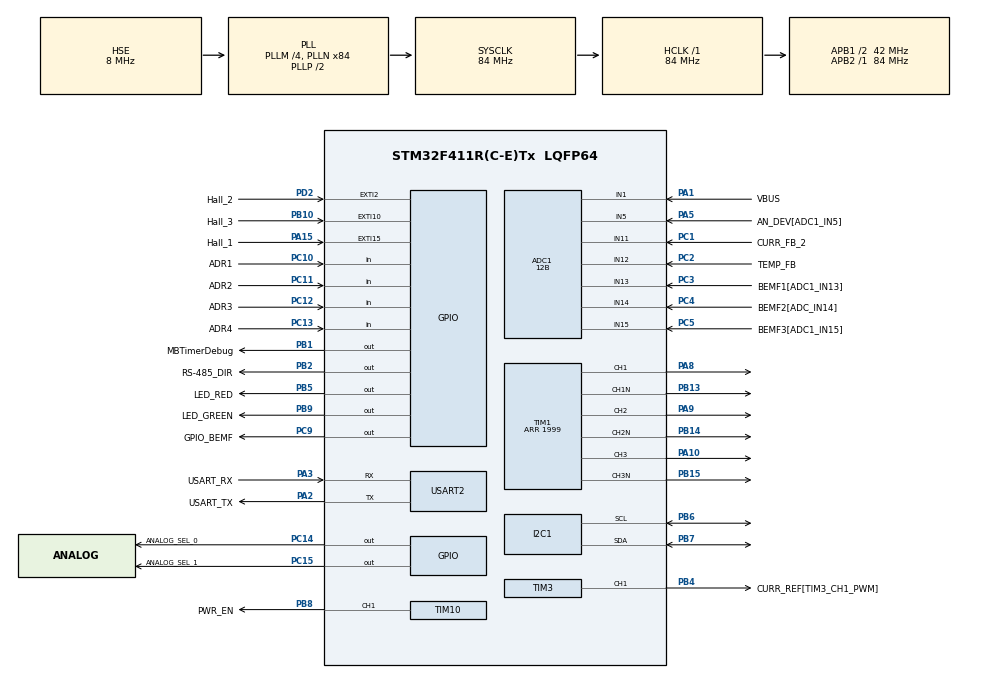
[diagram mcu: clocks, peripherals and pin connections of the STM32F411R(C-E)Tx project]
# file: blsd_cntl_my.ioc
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ADC1.Channel-284\#ChannelRegularConversion=ADC_CHANNEL_5
ADC1.ClockPrescaler=ADC_CLOCK_SYNC_PCLK_DIV4
ADC1.ContinuousConvMode=DISABLE
ADC1.DMAContinuousRequests=DISABLE
ADC1.DataAlign=ADC_DATAALIGN_RIGHT
ADC1.DiscontinuousConvMode=DISABLE
ADC1.EOCSelection=ADC_EOC_SINGLE_CONV
ADC1.EnableAnalogWatchDog=false
ADC1.ExternalTrigConv=ADC_EXTERNALTRIGCONV_T3_TRGO
ADC1.ExternalTrigConvEdge=ADC_EXTERNALTRIGCONVEDGE_RISING
ADC1.InjNumberOfConversion=0
ADC1.NbrOfConversion=1
ADC1.NbrOfConversionFlag=1
ADC1.Rank-284\#ChannelRegularConversion=1
ADC1.Resolution=ADC_RESOLUTION_12B
ADC1.SamplingTime-284\#ChannelRegularConversion=ADC_SAMPLETIME_3CYCLES
ADC1.ScanConvMode=DISABLE
ADC1.master=1
I2C1.I2C_Mode=I2C_Standard
Mcu.Family=STM32F4
Mcu.Name=STM32F411R(C-E)Tx
Mcu.Package=LQFP64
NVIC.ADC_IRQn=true\:3\:0\:true\:false\:true\:true
NVIC.EXTI15_10_IRQn=true\:0\:0\:true\:false\:true\:true
NVIC.EXTI2_IRQn=true\:0\:0\:true\:false\:true\:true
NVIC.I2C1_ER_IRQn=true\:13\:0\:true\:false\:true\:true
NVIC.I2C1_EV_IRQn=true\:12\:0\:true\:false\:true\:true
NVIC.PriorityGroup=NVIC_PRIORITYGROUP_4
NVIC.TIM1_BRK_TIM9_IRQn=true\:2\:0\:true\:false\:true\:true
NVIC.TIM1_TRG_COM_TIM11_IRQn=true\:1\:0\:true\:false\:true\:true
NVIC.TIM4_IRQn=true\:0\:0\:true\:false\:true\:true
NVIC.USART2_IRQn=true\:7\:0\:true\:false\:false\:true
PA1.GPIO_Label=VBUS
PA1.Signal=ADCx_IN1
PA10.GPIO_PuPd=GPIO_PULLDOWN
PA10.GPIO_Speed=GPIO_SPEED_FREQ_HIGH
PA10.Signal=S_TIM1_CH3
PA11.GPIO_Label=SOFT_START_PWM[TIM1_CH4]
PA11.Signal=S_TIM1_CH4
PA12.GPIO_Label=CPOUT[TIM1_ETR]
PA12.Signal=S_TIM1_ETR
PA13.Signal=SYS_JTMS-SWDIO
PA14.GPIO_Label=TCK
PA14.Signal=SYS_JTCK-SWCLK
PA15.GPIO_Label=Hall_1
PA15.GPIO_ModeDefaultEXTI=GPIO_MODE_IT_RISING_FALLING
PA15.GPIO_PuPd=GPIO_PULLUP
PA15.Signal=GPXTI15
PA2.GPIO_Label=USART_TX
PA2.Mode=Asynchronous
PA2.Signal=USART2_TX
PA3.GPIO_Label=USART_RX
PA3.Mode=Asynchronous
PA3.Signal=USART2_RX
PA5.GPIO_Label=AN_DEV[ADC1_IN5]
PA5.Signal=ADCx_IN5
PA8.GPIO_PuPd=GPIO_PULLDOWN
PA8.GPIO_Speed=GPIO_SPEED_FREQ_HIGH
PA8.Signal=S_TIM1_CH1
PA9.GPIO_PuPd=GPIO_PULLDOWN
PA9.GPIO_Speed=GPIO_SPEED_FREQ_HIGH
PA9.Signal=S_TIM1_CH2
PB1.GPIO_Label=MBTimerDebug
PB1.Signal=GPIO_Output
PB10.GPIO_Label=Hall_3
PB10.GPIO_ModeDefaultEXTI=GPIO_MODE_IT_RISING_FALLING
PB10.GPIO_PuPd=GPIO_PULLUP
PB10.Signal=GPXTI10
PB12.Signal=TIM1_BKIN
PB13.GPIO_PuPd=GPIO_PULLDOWN
PB13.GPIO_Speed=GPIO_SPEED_FREQ_HIGH
PB13.Mode=PWM Generation1 CH1 CH1N
PB13.Signal=TIM1_CH1N
PB14.GPIO_PuPd=GPIO_PULLDOWN
PB14.GPIO_Speed=GPIO_SPEED_FREQ_HIGH
PB14.Mode=PWM Generation2 CH2 CH2N
PB14.Signal=TIM1_CH2N
PB15.GPIO_PuPd=GPIO_PULLDOWN
PB15.GPIO_Speed=GPIO_SPEED_FREQ_HIGH
PB15.Mode=PWM Generation3 CH3 CH3N
PB15.Signal=TIM1_CH3N
PB2.GPIO_Label=RS-485_DIR
PB2.Signal=GPIO_Output
PB4.GPIO_Label=CURR_REF[TIM3_CH1_PWM]
PB4.Signal=S_TIM3_CH1
PB5.GPIO_Label=LED_RED
PB5.Signal=GPIO_Output
PB6.Mode=I2C
PB6.Signal=I2C1_SCL
PB7.Mode=I2C
PB7.Signal=I2C1_SDA
PB8.GPIO_Label=PWR_EN
PB8.Signal=S_TIM10_CH1
PB9.GPIO_Label=LED_GREEN
PB9.Signal=GPIO_Output
PC1.GPIO_Label=CURR_FB_2
PC1.Signal=ADCx_IN11
PC10.GPIO_Label=ADR1
PC10.GPIO_PuPd=GPIO_PULLDOWN
PC10.Signal=GPIO_Input
PC11.GPIO_Label=ADR2
PC11.GPIO_PuPd=GPIO_PULLDOWN
PC11.Signal=GPIO_Input
PC12.GPIO_Label=ADR3
PC12.GPIO_PuPd=GPIO_PULLDOWN
PC12.Signal=GPIO_Input
PC13-ANTI_TAMP.GPIO_Label=ADR4
PC13-ANTI_TAMP.GPIO_PuPd=GPIO_PULLDOWN
PC13-ANTI_TAMP.Signal=GPIO_Input
PC14-OSC32_IN.GPIO_Label=ANALOG_SEL_0
PC14-OSC32_IN.Signal=GPIO_Output
PC15-OSC32_OUT.GPIO_Label=ANALOG_SEL_1
PC15-OSC32_OUT.Signal=GPIO_Output
PC2.GPIO_Label=TEMP_FB
PC2.Signal=ADCx_IN12
PC3.GPIO_Label=BEMF1[ADC1_IN13]
PC3.Signal=ADCx_IN13
PC4.GPIO_Label=BEMF2[ADC_IN14]
PC4.Signal=ADCx_IN14
PC5.GPIO_Label=BEMF3[ADC1_IN15]
PC5.Signal=ADCx_IN15
PC9.GPIO_Label=GPIO_BEMF
PC9.PinState=GPIO_PIN_RESET
PC9.Signal=GPIO_Output
PD2.GPIO_Label=Hall_2
PD2.GPIO_ModeDefaultEXTI=GPIO_MODE_IT_RISING_FALLING
PD2.GPIO_PuPd=GPIO_PULLUP
PD2.Signal=GPXTI2
PH0\ -\ OSC_IN.Mode=HSE-External-Oscillator
PH0\ -\ OSC_IN.Signal=RCC_OSC_IN
PH1\ -\ OSC_OUT.Mode=HSE-External-Oscillator
PH1\ -\ OSC_OUT.Signal=RCC_OSC_OUT
ProjectManager.HeapSize=0x200
ProjectManager.StackSize=0x400
ProjectManager.TargetToolchain=SW4STM32
RCC.48MHZClocksFreq_Value=42000000
RCC.AHBFreq_Value=84000000
RCC.APB1CLKDivider=RCC_HCLK_DIV2
RCC.APB1Freq_Value=42000000
RCC.APB1TimFreq_Value=84000000
RCC.APB2Freq_Value=84000000
RCC.APB2TimFreq_Value=84000000
RCC.CortexFreq_Value=84000000
RCC.FLatency-AdvancedSettings=FLASH_LATENCY_2
RCC.HCLKFreq_Value=84000000
RCC.HSE_VALUE=8000000
RCC.HSI_VALUE=16000000
RCC.LSE_VALUE=32768
RCC.PLLM=4
RCC.PLLN=84
RCC.PLLSourceVirtual=RCC_PLLSOURCE_HSE
RCC.SYSCLKFreq_VALUE=84000000
RCC.SYSCLKSource=RCC_SYSCLKSOURCE_PLLCLK
RCC.VCOOutputFreq_Value=168000000
SH.ADCx_IN1.0=ADC1_IN1,IN1
SH.ADCx_IN11.0=ADC1_IN11,IN11
SH.ADCx_IN12.0=ADC1_IN12,IN12
SH.ADCx_IN13.0=ADC1_IN13,IN13
SH.ADCx_IN14.0=ADC1_IN14,IN14
SH.ADCx_IN15.0=ADC1_IN15,IN15
SH.ADCx_IN5.0=ADC1_IN5,IN5
SH.S_TIM10_CH1.0=TIM10_CH1,PWM Generation1 CH1
SH.S_TIM1_CH1.0=TIM1_CH1,PWM Generation1 CH1 CH1N
SH.S_TIM1_CH2.0=TIM1_CH2,PWM Generation2 CH2 CH2N
SH.S_TIM1_CH3.0=TIM1_CH3,PWM Generation3 CH3 CH3N
SH.S_TIM1_CH4.0=TIM1_CH4
SH.S_TIM1_ETR.0=TIM1_ETR
SH.S_TIM3_CH1.0=TIM3_CH1,PWM Generation1 CH1
TIM1.AutomaticOutput=TIM_AUTOMATICOUTPUT_ENABLE
TIM1.BreakState=TIM_BREAK_DISABLE
TIM1.Channel-PWM\ Generation1\ CH1\ CH1N=TIM_CHANNEL_1
TIM1.Channel-PWM\ Generation2\ CH2\ CH2N=TIM_CHANNEL_2
TIM1.Channel-PWM\ Generation3\ CH3\ CH3N=TIM_CHANNEL_3
TIM1.CounterMode=TIM_COUNTERMODE_CENTERALIGNED1
TIM1.DeadTime=0xa7
TIM1.Period=1999
TIM10.Channel=TIM_CHANNEL_1
TIM10.Period=39772
TIM10.Prescaler=63
TIM10.Pulse=26515
TIM11.Period=41999
TIM11.Prescaler=1
TIM3.Channel-PWM\ Generation1\ CH1=TIM_CHANNEL_1
TIM3.CounterMode=TIM_COUNTERMODE_CENTERALIGNED1
TIM3.Period=1999
TIM3.Pulse-PWM\ Generation1\ CH1=1500
TIM3.TIM_MasterOutputTrigger=TIM_TRGO_UPDATE
TIM3.TIM_MasterSlaveMode=TIM_MASTERSLAVEMODE_ENABLE
TIM4.Channel-Input_Capture1_from_TRC=TIM_CHANNEL_1
TIM4.Channel-Output\ Compare2\ No\ Output=TIM_CHANNEL_2
TIM4.Period=65535
TIM4.Prescaler=83
TIM4.Pulse-Output\ Compare2\ No\ Output=1
TIM4.TIM_MasterOutputTrigger=TIM_TRGO_UPDATE
TIM4.TIM_MasterSlaveMode=TIM_MASTERSLAVEMODE_DISABLE
TIM9.Period=524
TIM9.Prescaler=7
USART2.Parity=PARITY_EVEN
USART2.StopBits=STOPBITS_1
USART2.VirtualMode=VM_ASYNC
USART2.WordLength=WORDLENGTH_9B
VP_TIM10_VS_ClockSourceINT.Mode=Enable_Timer
VP_TIM11_VS_ClockSourceINT.Mode=Enable_Timer
VP_TIM1_VS_ClockSourceINT.Mode=Internal
VP_TIM1_VS_ClockSourceITR.Mode=TriggerSource_ITR3
VP_TIM1_VS_ControllerModeTrigger.Mode=Trigger Mode
VP_TIM3_VS_ClockSourceINT.Mode=Internal
VP_TIM3_VS_ClockSourceITR.Mode=TriggerSource_ITR3
VP_TIM3_VS_ControllerModeTrigger.Mode=Trigger Mode
VP_TIM4_VS_CH1.Mode=Input_Capture1_from_TRC
VP_TIM4_VS_ClockSourceINT.Mode=Internal
VP_TIM4_VS_ClockSourceITR.Mode=TriggerSource_ITR3
VP_TIM4_VS_ControllerModeReset.Mode=Reset Mode
VP_TIM4_VS_no_output2.Mode=Output Compare2 No Output
VP_TIM9_VS_ClockSourceINT.Mode=Internal
board=NUCLEO-F411RE

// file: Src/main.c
/**
  ******************************************************************************
  * @file           : main.c
  * @brief          : Main program body
  ******************************************************************************
  ** This notice applies to any and all portions of this file
  * that are not between comment pairs USER CODE BEGIN and
  * USER CODE END. Other portions of this file, whether
  * inserted by the user or by software development tools
  * are owned by their respective copyright owners.
  *
  * COPYRIGHT(c) 2019 STMicroelectronics
  *
  * Redistribution and use in source and binary forms, with or without modification,
  * are permitted provided that the following conditions are met:
  *   1. Redistributions of source code must retain the above copyright notice,
  *      this list of conditions and the following disclaimer.
  *   2. Redistributions in binary form must reproduce the above copyright notice,
  *      this list of conditions and the following disclaimer in the documentation
  *      and/or other materials provided with the distribution.
  *   3. Neither the name of STMicroelectronics nor the names of its contributors
  *      may be used to endorse or promote products derived from this software
  *      without specific prior written permission.
  *
  * THIS SOFTWARE IS PROVIDED BY THE COPYRIGHT HOLDERS AND CONTRIBUTORS "AS IS"
  * AND ANY EXPRESS OR IMPLIED WARRANTIES, INCLUDING, BUT NOT LIMITED TO, THE
  * IMPLIED WARRANTIES OF MERCHANTABILITY AND FITNESS FOR A PARTICULAR PURPOSE ARE
  * DISCLAIMED. IN NO EVENT SHALL THE COPYRIGHT HOLDER OR CONTRIBUTORS BE LIABLE
  * FOR ANY DIRECT, INDIRECT, INCIDENTAL, SPECIAL, EXEMPLARY, OR CONSEQUENTIAL
  * DAMAGES (INCLUDING, BUT NOT LIMITED TO, PROCUREMENT OF SUBSTITUTE GOODS OR
  * SERVICES; LOSS OF USE, DATA, OR PROFITS; OR BUSINESS INTERRUPTION) HOWEVER
  * CAUSED AND ON ANY THEORY OF LIABILITY, WHETHER IN CONTRACT, STRICT LIABILITY,
  * OR TORT (INCLUDING NEGLIGENCE OR OTHERWISE) ARISING IN ANY WAY OUT OF THE USE
  * OF THIS SOFTWARE, EVEN IF ADVISED OF THE POSSIBILITY OF SUCH DAMAGE.
  *
  ******************************************************************************
  */
#include "main.h"
#include "stm32f4xx_hal.h"

/* USER CODE BEGIN Includes */
#include "swtimer.h"
#include "mb.h"
#include "mbport.h"
#include "proto.h"
#include "adctenso.h"
#include "spimbaddr.h"
#include "hall.h"
#include "poweron.h"
#include "button.h"
#include "6Step_Lib_Hall.h"
#include "ramp.h"
/* USER CODE END Includes */

ADC_HandleTypeDef hadc1;

I2C_HandleTypeDef hi2c1;

TIM_HandleTypeDef htim1;
TIM_HandleTypeDef htim3;
TIM_HandleTypeDef htim4;
TIM_HandleTypeDef htim9;
TIM_HandleTypeDef htim10;
TIM_HandleTypeDef htim11;

UART_HandleTypeDef huart2;

/* USER CODE BEGIN PV */
/* Private variables ---------------------------------------------------------*/

/* MODBUS definitions */
#define MB_ADDRESS						( 0x0A )
#define MB_BAUDRATE						( 460800 )
//#define MB_BAUDRATE						( 230400 )
//#define MB_BAUDRATE						( 115200 )

uint8_t ModBusAddr = MB_ADDRESS;
/* USER CODE END PV */

void SystemClock_Config(void);
static void MX_GPIO_Init(void);
static void MX_ADC1_Init(void);
static void MX_I2C1_Init(void);
static void MX_TIM1_Init(void);
static void MX_TIM3_Init(void);
static void MX_USART2_UART_Init(void);
static void MX_TIM11_Init(void);
static void MX_TIM4_Init(void);
static void MX_TIM9_Init(void);
static void MX_TIM10_Init(void);

void HAL_TIM_MspPostInit(TIM_HandleTypeDef *htim);

/* USER CODE BEGIN PFP */
/* Private function prototypes -----------------------------------------------*/
static void cnt_reset_timer(void);
static void green_led_timer(void);
/* USER CODE END PFP */

int main(void)
{
  /* USER CODE BEGIN 1 */
	const UCHAR ucSlaveID[] = { 0xAA, 0xBB, 0xCC };
	eMBErrorCode eStatus;
  /* USER CODE END 1 */

  /* MCU Configuration----------------------------------------------------------*/

  /* Reset of all peripherals, Initializes the Flash interface and the Systick. */
  HAL_Init();

  /* Configure the system clock */
  SystemClock_Config();

  /* Initialize all configured peripherals */
  MX_GPIO_Init();
  MX_ADC1_Init();
  MX_I2C1_Init();
  MX_TIM1_Init();
  MX_TIM3_Init();
  MX_USART2_UART_Init();
  MX_TIM11_Init();
  MX_TIM4_Init();
  MX_TIM9_Init();
  MX_TIM10_Init();
  /* USER CODE BEGIN 2 */
	HAL_GPIO_WritePin(LED_RED_GPIO_Port, LED_RED_Pin, GPIO_PIN_SET);
	HAL_GPIO_WritePin(LED_GREEN_GPIO_Port, LED_GREEN_Pin, GPIO_PIN_SET);
  //HAL_TIMEx_ConfigCommutationEvent_IT(&htim1, TIM_TS_NONE, TIM_COMMUTATION_SOFTWARE);
  SwTimer_Init();
//  SwTimer_Add(SWTIMER_MODE_CYCLE, RED_LED_TIMER_TIMEOUT, red_led_timer);
//  SwTimer_Add(SWTIMER_MODE_CYCLE, GREEN_LED_TIMER_TIMEOUT, green_led_timer);
  //SwTimer_Add(SWTIMER_MODE_CYCLE, ADC_TENSO_TIMER_TIMEOUT, SwTimer_ADCTensoCB);

  MBAddress_Init();
  while (!GetMBAddress(&ModBusAddr))
  {
	  ;
  }
  //ModBusAddr = MB_ADDRESS;
  /*									MODE   ADDRESS 	  UART 	BAUDRATE    PARITY    */
  /*									  |		  |     	|       |          |      */
  if (MB_ENOERR != (eStatus = eMBInit(MB_RTU, ModBusAddr, 0, MB_BAUDRATE, MB_PAR_EVEN)))
  {
	  /* Can not initialize. Add error handling code here. */
	  _Error_Handler(__FILE__, __LINE__);
  }
  else
  {
	  if (MB_ENOERR != (eStatus = eMBSetSlaveID(0x34, TRUE, ucSlaveID, 3)))
	  {
		  /* Can not set slave id. Check arguments */
		  _Error_Handler(__FILE__, __LINE__);
	  }
	  else if (MB_ENOERR != (eStatus = eMBEnable()))
	  {
		  /* Enable failed. */
		  _Error_Handler(__FILE__, __LINE__);
	  }
  }
  InitHall();
  InitPower();
 // InitButton();
  ProtoInit();
  RampMotorInit();
  MC_SixStep_INIT();
  SwTimer_Add(SWTIMER_MODE_CYCLE, GREEN_LED_TIMER_TIMEOUT, green_led_timer);
  SwTimer_Add(SWTIMER_MODE_CYCLE, CNT_RESET_TIMER_TIMEOUT, cnt_reset_timer);

  //HAL_TIM_PWM_Start(&htim3, TIM_CHANNEL_1);
  //TIM_CCxChannelCmd(TIM3, TIM_CHANNEL_1, TIM_CCx_ENABLE);
  //HAL_TIM_Base_Start_IT(&htim4);
  //MC_StartMotor();
  /* USER CODE END 2 */

  /* Infinite loop */
  /* USER CODE BEGIN WHILE */
  while (1)
  {
	  (void) eMBPoll();
	   MC_ADC_Task();
//	   RampMotorTask();
  /* USER CODE END WHILE */

  /* USER CODE BEGIN 3 */

  }
  (void) eMBDisable();
  (void) eMBClose();
  /* USER CODE END 3 */

}

void SystemClock_Config(void)
{

  RCC_OscInitTypeDef RCC_OscInitStruct;
  RCC_ClkInitTypeDef RCC_ClkInitStruct;

    /**Configure the main internal regulator output voltage
    */
  __HAL_RCC_PWR_CLK_ENABLE();

  __HAL_PWR_VOLTAGESCALING_CONFIG(PWR_REGULATOR_VOLTAGE_SCALE1);

    /**Initializes the CPU, AHB and APB busses clocks
    */
  RCC_OscInitStruct.OscillatorType = RCC_OSCILLATORTYPE_HSE;
  RCC_OscInitStruct.HSEState = RCC_HSE_ON;
  RCC_OscInitStruct.PLL.PLLState = RCC_PLL_ON;
  RCC_OscInitStruct.PLL.PLLSource = RCC_PLLSOURCE_HSE;
  RCC_OscInitStruct.PLL.PLLM = 4;
  RCC_OscInitStruct.PLL.PLLN = 84;
  RCC_OscInitStruct.PLL.PLLP = RCC_PLLP_DIV2;
  RCC_OscInitStruct.PLL.PLLQ = 4;
  if (HAL_RCC_OscConfig(&RCC_OscInitStruct) != HAL_OK)
  {
    _Error_Handler(__FILE__, __LINE__);
  }

    /**Initializes the CPU, AHB and APB busses clocks
    */
  RCC_ClkInitStruct.ClockType = RCC_CLOCKTYPE_HCLK|RCC_CLOCKTYPE_SYSCLK
                              |RCC_CLOCKTYPE_PCLK1|RCC_CLOCKTYPE_PCLK2;
  RCC_ClkInitStruct.SYSCLKSource = RCC_SYSCLKSOURCE_PLLCLK;
  RCC_ClkInitStruct.AHBCLKDivider = RCC_SYSCLK_DIV1;
  RCC_ClkInitStruct.APB1CLKDivider = RCC_HCLK_DIV2;
  RCC_ClkInitStruct.APB2CLKDivider = RCC_HCLK_DIV1;

  if (HAL_RCC_ClockConfig(&RCC_ClkInitStruct, FLASH_LATENCY_2) != HAL_OK)
  {
    _Error_Handler(__FILE__, __LINE__);
  }

    /**Configure the Systick interrupt time
    */
  HAL_SYSTICK_Config(HAL_RCC_GetHCLKFreq()/1000);

    /**Configure the Systick
    */
  HAL_SYSTICK_CLKSourceConfig(SYSTICK_CLKSOURCE_HCLK);

  /* SysTick_IRQn interrupt configuration */
  HAL_NVIC_SetPriority(SysTick_IRQn, 0, 0);
}

/* ADC1 init function */
static void MX_ADC1_Init(void)
{

  ADC_ChannelConfTypeDef sConfig;

    /**Configure the global features of the ADC (Clock, Resolution, Data Alignment and number of conversion)
    */
  hadc1.Instance = ADC1;
  hadc1.Init.ClockPrescaler = ADC_CLOCK_SYNC_PCLK_DIV4;
  hadc1.Init.Resolution = ADC_RESOLUTION_12B;
  hadc1.Init.ScanConvMode = DISABLE;
  hadc1.Init.ContinuousConvMode = DISABLE;
  hadc1.Init.DiscontinuousConvMode = DISABLE;
  hadc1.Init.ExternalTrigConvEdge = ADC_EXTERNALTRIGCONVEDGE_RISING;
  hadc1.Init.ExternalTrigConv = ADC_EXTERNALTRIGCONV_T3_TRGO;
  hadc1.Init.DataAlign = ADC_DATAALIGN_RIGHT;
  hadc1.Init.NbrOfConversion = 1;
  hadc1.Init.DMAContinuousRequests = DISABLE;
  hadc1.Init.EOCSelection = ADC_EOC_SINGLE_CONV;
  if (HAL_ADC_Init(&hadc1) != HAL_OK)
  {
    _Error_Handler(__FILE__, __LINE__);
  }

    /**Configure for the selected ADC regular channel its corresponding rank in the sequencer and its sample time.
    */
  sConfig.Channel = ADC_CHANNEL_5;
  sConfig.Rank = 1;
  sConfig.SamplingTime = ADC_SAMPLETIME_3CYCLES;
  if (HAL_ADC_ConfigChannel(&hadc1, &sConfig) != HAL_OK)
  {
    _Error_Handler(__FILE__, __LINE__);
  }

}

/* I2C1 init function */
static void MX_I2C1_Init(void)
{

  hi2c1.Instance = I2C1;
  hi2c1.Init.ClockSpeed = 100000;
  hi2c1.Init.DutyCycle = I2C_DUTYCYCLE_2;
  hi2c1.Init.OwnAddress1 = 0;
  hi2c1.Init.AddressingMode = I2C_ADDRESSINGMODE_7BIT;
  hi2c1.Init.DualAddressMode = I2C_DUALADDRESS_DISABLE;
  hi2c1.Init.OwnAddress2 = 0;
  hi2c1.Init.GeneralCallMode = I2C_GENERALCALL_DISABLE;
  hi2c1.Init.NoStretchMode = I2C_NOSTRETCH_DISABLE;
  if (HAL_I2C_Init(&hi2c1) != HAL_OK)
  {
    _Error_Handler(__FILE__, __LINE__);
  }

}

/* TIM1 init function */
static void MX_TIM1_Init(void)
{

  TIM_ClockConfigTypeDef sClockSourceConfig;
  TIM_SlaveConfigTypeDef sSlaveConfig;
  TIM_MasterConfigTypeDef sMasterConfig;
  TIM_OC_InitTypeDef sConfigOC;
  TIM_BreakDeadTimeConfigTypeDef sBreakDeadTimeConfig;

  htim1.Instance = TIM1;
  htim1.Init.Prescaler = 0;
  htim1.Init.CounterMode = TIM_COUNTERMODE_CENTERALIGNED1;
  htim1.Init.Period = 1999;
  htim1.Init.ClockDivision = TIM_CLOCKDIVISION_DIV1;
  htim1.Init.RepetitionCounter = 0;
  if (HAL_TIM_Base_Init(&htim1) != HAL_OK)
  {
    _Error_Handler(__FILE__, __LINE__);
  }

  sClockSourceConfig.ClockSource = TIM_CLOCKSOURCE_INTERNAL;
  if (HAL_TIM_ConfigClockSource(&htim1, &sClockSourceConfig) != HAL_OK)
  {
    _Error_Handler(__FILE__, __LINE__);
  }

  if (HAL_TIM_PWM_Init(&htim1) != HAL_OK)
  {
    _Error_Handler(__FILE__, __LINE__);
  }

  sSlaveConfig.SlaveMode = TIM_SLAVEMODE_TRIGGER;
  sSlaveConfig.InputTrigger = TIM_TS_ITR3;
  if (HAL_TIM_SlaveConfigSynchronization(&htim1, &sSlaveConfig) != HAL_OK)
  {
    _Error_Handler(__FILE__, __LINE__);
  }

  sMasterConfig.MasterOutputTrigger = TIM_TRGO_RESET;
  sMasterConfig.MasterSlaveMode = TIM_MASTERSLAVEMODE_DISABLE;
  if (HAL_TIMEx_MasterConfigSynchronization(&htim1, &sMasterConfig) != HAL_OK)
  {
    _Error_Handler(__FILE__, __LINE__);
  }

  sConfigOC.OCMode = TIM_OCMODE_PWM1;
  sConfigOC.Pulse = 0;
  sConfigOC.OCPolarity = TIM_OCPOLARITY_HIGH;
  sConfigOC.OCNPolarity = TIM_OCNPOLARITY_HIGH;
  sConfigOC.OCFastMode = TIM_OCFAST_DISABLE;
  sConfigOC.OCIdleState = TIM_OCIDLESTATE_RESET;
  sConfigOC.OCNIdleState = TIM_OCNIDLESTATE_RESET;
  if (HAL_TIM_PWM_ConfigChannel(&htim1, &sConfigOC, TIM_CHANNEL_1) != HAL_OK)
  {
    _Error_Handler(__FILE__, __LINE__);
  }

  if (HAL_TIM_PWM_ConfigChannel(&htim1, &sConfigOC, TIM_CHANNEL_2) != HAL_OK)
  {
    _Error_Handler(__FILE__, __LINE__);
  }

  if (HAL_TIM_PWM_ConfigChannel(&htim1, &sConfigOC, TIM_CHANNEL_3) != HAL_OK)
  {
    _Error_Handler(__FILE__, __LINE__);
  }

  sBreakDeadTimeConfig.OffStateRunMode = TIM_OSSR_DISABLE;
  sBreakDeadTimeConfig.OffStateIDLEMode = TIM_OSSI_DISABLE;
  sBreakDeadTimeConfig.LockLevel = TIM_LOCKLEVEL_OFF;
  sBreakDeadTimeConfig.DeadTime = 0xa7;
  sBreakDeadTimeConfig.BreakState = TIM_BREAK_DISABLE;
  sBreakDeadTimeConfig.BreakPolarity = TIM_BREAKPOLARITY_HIGH;
  sBreakDeadTimeConfig.AutomaticOutput = TIM_AUTOMATICOUTPUT_ENABLE;
  if (HAL_TIMEx_ConfigBreakDeadTime(&htim1, &sBreakDeadTimeConfig) != HAL_OK)
  {
    _Error_Handler(__FILE__, __LINE__);
  }

  HAL_TIM_MspPostInit(&htim1);

}

/* TIM3 init function */
static void MX_TIM3_Init(void)
{

  TIM_ClockConfigTypeDef sClockSourceConfig;
  TIM_SlaveConfigTypeDef sSlaveConfig;
  TIM_MasterConfigTypeDef sMasterConfig;
  TIM_OC_InitTypeDef sConfigOC;

  htim3.Instance = TIM3;
  htim3.Init.Prescaler = 0;
  htim3.Init.CounterMode = TIM_COUNTERMODE_CENTERALIGNED1;
  htim3.Init.Period = 1999;
  htim3.Init.ClockDivision = TIM_CLOCKDIVISION_DIV1;
  if (HAL_TIM_Base_Init(&htim3) != HAL_OK)
  {
    _Error_Handler(__FILE__, __LINE__);
  }

  sClockSourceConfig.ClockSource = TIM_CLOCKSOURCE_INTERNAL;
  if (HAL_TIM_ConfigClockSource(&htim3, &sClockSourceConfig) != HAL_OK)
  {
    _Error_Handler(__FILE__, __LINE__);
  }

  if (HAL_TIM_PWM_Init(&htim3) != HAL_OK)
  {
    _Error_Handler(__FILE__, __LINE__);
  }

  sSlaveConfig.SlaveMode = TIM_SLAVEMODE_TRIGGER;
  sSlaveConfig.InputTrigger = TIM_TS_ITR3;
  if (HAL_TIM_SlaveConfigSynchronization(&htim3, &sSlaveConfig) != HAL_OK)
  {
    _Error_Handler(__FILE__, __LINE__);
  }

  sMasterConfig.MasterOutputTrigger = TIM_TRGO_UPDATE;
  sMasterConfig.MasterSlaveMode = TIM_MASTERSLAVEMODE_ENABLE;
  if (HAL_TIMEx_MasterConfigSynchronization(&htim3, &sMasterConfig) != HAL_OK)
  {
    _Error_Handler(__FILE__, __LINE__);
  }

  sConfigOC.OCMode = TIM_OCMODE_PWM1;
  sConfigOC.Pulse = 1500;
  sConfigOC.OCPolarity = TIM_OCPOLARITY_HIGH;
  sConfigOC.OCFastMode = TIM_OCFAST_DISABLE;
  if (HAL_TIM_PWM_ConfigChannel(&htim3, &sConfigOC, TIM_CHANNEL_1) != HAL_OK)
  {
    _Error_Handler(__FILE__, __LINE__);
  }

  HAL_TIM_MspPostInit(&htim3);

}

/* TIM4 init function */
static void MX_TIM4_Init(void)
{

  TIM_ClockConfigTypeDef sClockSourceConfig;
  TIM_SlaveConfigTypeDef sSlaveConfig;
  TIM_MasterConfigTypeDef sMasterConfig;
  TIM_IC_InitTypeDef sConfigIC;
  TIM_OC_InitTypeDef sConfigOC;

  htim4.Instance = TIM4;
  htim4.Init.Prescaler = 83;
  htim4.Init.CounterMode = TIM_COUNTERMODE_UP;
  htim4.Init.Period = 65535;
  htim4.Init.ClockDivision = TIM_CLOCKDIVISION_DIV1;
  if (HAL_TIM_Base_Init(&htim4) != HAL_OK)
  {
    _Error_Handler(__FILE__, __LINE__);
  }

  sClockSourceConfig.ClockSource = TIM_CLOCKSOURCE_INTERNAL;
  if (HAL_TIM_ConfigClockSource(&htim4, &sClockSourceConfig) != HAL_OK)
  {
    _Error_Handler(__FILE__, __LINE__);
  }

  if (HAL_TIM_IC_Init(&htim4) != HAL_OK)
  {
    _Error_Handler(__FILE__, __LINE__);
  }

  if (HAL_TIM_OC_Init(&htim4) != HAL_OK)
  {
    _Error_Handler(__FILE__, __LINE__);
  }

  sSlaveConfig.SlaveMode = TIM_SLAVEMODE_RESET;
  sSlaveConfig.InputTrigger = TIM_TS_ITR3;
  if (HAL_TIM_SlaveConfigSynchronization(&htim4, &sSlaveConfig) != HAL_OK)
  {
    _Error_Handler(__FILE__, __LINE__);
  }

  sMasterConfig.MasterOutputTrigger = TIM_TRGO_UPDATE;
  sMasterConfig.MasterSlaveMode = TIM_MASTERSLAVEMODE_DISABLE;
  if (HAL_TIMEx_MasterConfigSynchronization(&htim4, &sMasterConfig) != HAL_OK)
  {
    _Error_Handler(__FILE__, __LINE__);
  }

  sConfigIC.ICPolarity = TIM_INPUTCHANNELPOLARITY_RISING;
  sConfigIC.ICSelection = TIM_ICSELECTION_TRC;
  sConfigIC.ICPrescaler = TIM_ICPSC_DIV1;
  sConfigIC.ICFilter = 0;
  if (HAL_TIM_IC_ConfigChannel(&htim4, &sConfigIC, TIM_CHANNEL_1) != HAL_OK)
  {
    _Error_Handler(__FILE__, __LINE__);
  }

  sConfigOC.OCMode = TIM_OCMODE_TIMING;
  sConfigOC.Pulse = 1;
  sConfigOC.OCPolarity = TIM_OCPOLARITY_HIGH;
  sConfigOC.OCFastMode = TIM_OCFAST_DISABLE;
  if (HAL_TIM_OC_ConfigChannel(&htim4, &sConfigOC, TIM_CHANNEL_2) != HAL_OK)
  {
    _Error_Handler(__FILE__, __LINE__);
  }

}

/* TIM9 init function */
static void MX_TIM9_Init(void)
{

  TIM_ClockConfigTypeDef sClockSourceConfig;

  htim9.Instance = TIM9;
  htim9.Init.Prescaler = 7;
  htim9.Init.CounterMode = TIM_COUNTERMODE_UP;
  htim9.Init.Period = 524;
  htim9.Init.ClockDivision = TIM_CLOCKDIVISION_DIV1;
  if (HAL_TIM_Base_Init(&htim9) != HAL_OK)
  {
    _Error_Handler(__FILE__, __LINE__);
  }

  sClockSourceConfig.ClockSource = TIM_CLOCKSOURCE_INTERNAL;
  if (HAL_TIM_ConfigClockSource(&htim9, &sClockSourceConfig) != HAL_OK)
  {
    _Error_Handler(__FILE__, __LINE__);
  }

}

/* TIM10 init function */
static void MX_TIM10_Init(void)
{

  TIM_OC_InitTypeDef sConfigOC;

  htim10.Instance = TIM10;
  htim10.Init.Prescaler = 63;
  htim10.Init.CounterMode = TIM_COUNTERMODE_UP;
  htim10.Init.Period = 39772;
  htim10.Init.ClockDivision = TIM_CLOCKDIVISION_DIV1;
  if (HAL_TIM_Base_Init(&htim10) != HAL_OK)
  {
    _Error_Handler(__FILE__, __LINE__);
  }

  if (HAL_TIM_PWM_Init(&htim10) != HAL_OK)
  {
    _Error_Handler(__FILE__, __LINE__);
  }

  sConfigOC.OCMode = TIM_OCMODE_PWM1;
  sConfigOC.Pulse = 26515;
  sConfigOC.OCPolarity = TIM_OCPOLARITY_HIGH;
  sConfigOC.OCFastMode = TIM_OCFAST_DISABLE;
  if (HAL_TIM_PWM_ConfigChannel(&htim10, &sConfigOC, TIM_CHANNEL_1) != HAL_OK)
  {
    _Error_Handler(__FILE__, __LINE__);
  }

  HAL_TIM_MspPostInit(&htim10);

}

/* TIM11 init function */
static void MX_TIM11_Init(void)
{

  htim11.Instance = TIM11;
  htim11.Init.Prescaler = 1;
  htim11.Init.CounterMode = TIM_COUNTERMODE_UP;
  htim11.Init.Period = 41999;
  htim11.Init.ClockDivision = TIM_CLOCKDIVISION_DIV1;
  if (HAL_TIM_Base_Init(&htim11) != HAL_OK)
  {
    _Error_Handler(__FILE__, __LINE__);
  }

}

/* USART2 init function */
static void MX_USART2_UART_Init(void)
{

  huart2.Instance = USART2;
  huart2.Init.BaudRate = 115200;
  huart2.Init.WordLength = UART_WORDLENGTH_9B;
  huart2.Init.StopBits = UART_STOPBITS_1;
  huart2.Init.Parity = UART_PARITY_EVEN;
  huart2.Init.Mode = UART_MODE_TX_RX;
  huart2.Init.HwFlowCtl = UART_HWCONTROL_NONE;
  huart2.Init.OverSampling = UART_OVERSAMPLING_16;
  if (HAL_UART_Init(&huart2) != HAL_OK)
  {
    _Error_Handler(__FILE__, __LINE__);
  }

}

/** Configure pins as
        * Analog
        * Input
        * Output
        * EVENT_OUT
        * EXTI
*/
static void MX_GPIO_Init(void)
{

  GPIO_InitTypeDef GPIO_InitStruct;

  /* GPIO Ports Clock Enable */
  __HAL_RCC_GPIOC_CLK_ENABLE();
  __HAL_RCC_GPIOH_CLK_ENABLE();
  __HAL_RCC_GPIOA_CLK_ENABLE();
  __HAL_RCC_GPIOB_CLK_ENABLE();
  __HAL_RCC_GPIOD_CLK_ENABLE();

  /*Configure GPIO pin Output Level */
  HAL_GPIO_WritePin(GPIOC, ANALOG_SEL_0_Pin|ANALOG_SEL_1_Pin|GPIO_BEMF_Pin, GPIO_PIN_RESET);

  /*Configure GPIO pin Output Level */
  HAL_GPIO_WritePin(GPIOB, MBTimerDebug_Pin|RS_485_DIR_Pin|LED_RED_Pin|LED_GREEN_Pin, GPIO_PIN_RESET);

  /*Configure GPIO pins : ADR4_Pin ADR1_Pin ADR2_Pin ADR3_Pin */
  GPIO_InitStruct.Pin = ADR4_Pin|ADR1_Pin|ADR2_Pin|ADR3_Pin;
  GPIO_InitStruct.Mode = GPIO_MODE_INPUT;
  GPIO_InitStruct.Pull = GPIO_PULLDOWN;
  HAL_GPIO_Init(GPIOC, &GPIO_InitStruct);

  /*Configure GPIO pins : ANALOG_SEL_0_Pin ANALOG_SEL_1_Pin GPIO_BEMF_Pin */
  GPIO_InitStruct.Pin = ANALOG_SEL_0_Pin|ANALOG_SEL_1_Pin|GPIO_BEMF_Pin;
  GPIO_InitStruct.Mode = GPIO_MODE_OUTPUT_PP;
  GPIO_InitStruct.Pull = GPIO_NOPULL;
  GPIO_InitStruct.Speed = GPIO_SPEED_FREQ_LOW;
  HAL_GPIO_Init(GPIOC, &GPIO_InitStruct);

  /*Configure GPIO pins : MBTimerDebug_Pin RS_485_DIR_Pin LED_RED_Pin LED_GREEN_Pin */
  GPIO_InitStruct.Pin = MBTimerDebug_Pin|RS_485_DIR_Pin|LED_RED_Pin|LED_GREEN_Pin;
  GPIO_InitStruct.Mode = GPIO_MODE_OUTPUT_PP;
  GPIO_InitStruct.Pull = GPIO_NOPULL;
  GPIO_InitStruct.Speed = GPIO_SPEED_FREQ_LOW;
  HAL_GPIO_Init(GPIOB, &GPIO_InitStruct);

  /*Configure GPIO pin : Hall_3_Pin */
  GPIO_InitStruct.Pin = Hall_3_Pin;
  GPIO_InitStruct.Mode = GPIO_MODE_IT_RISING_FALLING;
  GPIO_InitStruct.Pull = GPIO_PULLUP;
  HAL_GPIO_Init(Hall_3_GPIO_Port, &GPIO_InitStruct);

  /*Configure GPIO pin : Hall_1_Pin */
  GPIO_InitStruct.Pin = Hall_1_Pin;
  GPIO_InitStruct.Mode = GPIO_MODE_IT_RISING_FALLING;
  GPIO_InitStruct.Pull = GPIO_PULLUP;
  HAL_GPIO_Init(Hall_1_GPIO_Port, &GPIO_InitStruct);

  /*Configure GPIO pin : Hall_2_Pin */
  GPIO_InitStruct.Pin = Hall_2_Pin;
  GPIO_InitStruct.Mode = GPIO_MODE_IT_RISING_FALLING;
  GPIO_InitStruct.Pull = GPIO_PULLUP;
  HAL_GPIO_Init(Hall_2_GPIO_Port, &GPIO_InitStruct);

  /* EXTI interrupt init*/
  HAL_NVIC_SetPriority(EXTI2_IRQn, 0, 0);
  HAL_NVIC_EnableIRQ(EXTI2_IRQn);

  HAL_NVIC_SetPriority(EXTI15_10_IRQn, 0, 0);
  HAL_NVIC_EnableIRQ(EXTI15_10_IRQn);

}

/* USER CODE BEGIN 4 */
void cnt_reset_timer(void)
{
//	HAL_GPIO_TogglePin(LED_RED_GPIO_Port, LED_RED_Pin);
	MC_Reset_Counters();
}

void green_led_timer(void)
{
	if (!isMbConnected()) {
		HAL_GPIO_TogglePin(LED_GREEN_GPIO_Port, LED_GREEN_Pin);
	}
}

/* USER CODE END 4 */

void _Error_Handler(char *file, int line)
{
	while (1)
	{
	}
}

/************************ (C) COPYRIGHT STMicroelectronics *****END OF FILE****/
